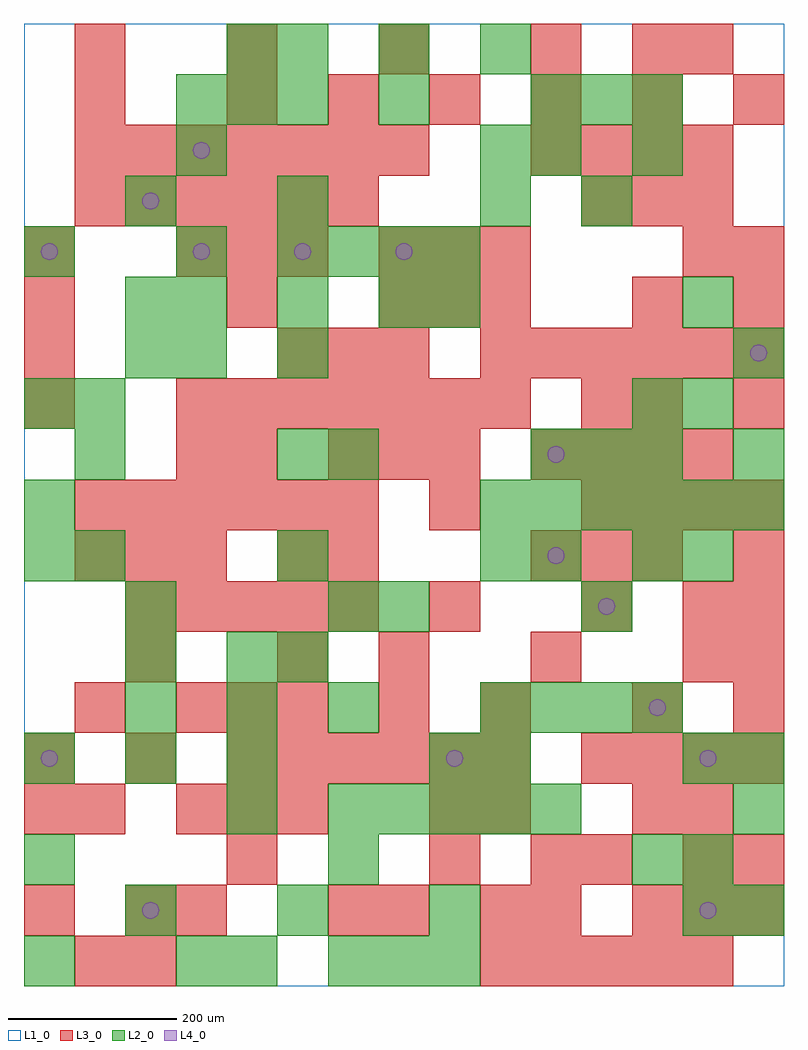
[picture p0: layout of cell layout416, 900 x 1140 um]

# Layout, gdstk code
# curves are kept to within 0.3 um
import gdstk
lib = gdstk.Library(unit=1e-6, precision=1e-09)
def R(c, l, rs):  # rectangles x0, y0, x1, y1
    for r in rs: c.add(gdstk.rectangle(r[:2], r[2:], *l))
def A(c, l, x, y, w, h, nx, ny, dx, dy):  # array of equal rectangles
    R(c, l, [(x+i*dx, y+j*dy, x+i*dx+w, y+j*dy+h) for i in range(nx) for j in range(ny)])
def P(c, l, *ps):  # polygons
    for p in ps: c.add(gdstk.Polygon(p, *l))
L1_0 = (1, 0)
L2_0 = (2, 0)
L3_0 = (3, 0)
L4_0 = (4, 0)

layout416 = lib.new_cell('layout416')
R(layout416, L1_0, [(0,0,900,1140)])
A(layout416, L2_0, 240, 0, 60, 60, 1, 3, 0, 180)
A(layout416, L2_0, 360, 0, 60, 60, 3, 1, 60, 0)
A(layout416, L2_0, 120, 60, 60, 60, 3, 1, 180, 0)
A(layout416, L2_0, 0, 120, 60, 60, 3, 1, 360, 0)
A(layout416, L2_0, 360, 180, 60, 60, 5, 1, 60, 0)
A(layout416, L2_0, 0, 240, 60, 60, 3, 1, 120, 0)
A(layout416, L2_0, 120, 300, 60, 60, 3, 1, 120, 0)
A(layout416, L2_0, 540, 300, 60, 60, 4, 1, 60, 0)
A(layout416, L2_0, 60, 480, 60, 60, 3, 1, 240, 0)
A(layout416, L2_0, 540, 540, 60, 60, 6, 1, 60, 0)
A(layout416, L2_0, 600, 600, 60, 60, 3, 2, 60, 420)
A(layout416, L2_0, 180, 720, 60, 60, 1, 3, 0, 120)
A(layout416, L2_0, 180, 780, 60, 60, 3, 1, 120, 0)
A(layout416, L2_0, 300, 840, 60, 60, 4, 1, 60, 0)
A(layout416, L2_0, 180, 1020, 60, 60, 3, 1, 60, 0)
A(layout416, L2_0, 300, 1080, 60, 60, 3, 1, 120, 0)
R(layout416, L2_0, [(0,0,60,60), (180,0,240,60), (780,60,840,120), (840,60,900,120), (780,120,840,180), (840,180,900,240), (480,240,540,300), (540,240,600,300), (780,240,840,300), (840,240,900,300), (120,360,180,420), (300,360,360,420), (120,420,180,480), (360,420,420,480), (420,420,480,480), (660,420,720,480), (0,480,60,540), (600,480,660,540), (720,480,780,540), (780,480,840,540), (0,540,60,600), (60,600,120,660), (300,600,360,660), (360,600,420,660), (840,600,900,660), (0,660,60,720), (60,660,120,720), (720,660,780,720), (780,660,840,720), (120,720,180,780), (300,720,360,780), (840,720,900,780), (120,780,180,840), (480,780,540,840), (780,780,840,840), (0,840,60,900), (120,900,180,960), (300,900,360,960), (540,900,600,960), (660,900,720,960), (540,960,600,1020), (600,960,660,1020), (720,960,780,1020), (420,1020,480,1080), (240,1080,300,1140)])
A(layout416, L3_0, 540, 0, 60, 60, 5, 1, 60, 0)
A(layout416, L3_0, 540, 60, 60, 60, 1, 3, 0, 120)
A(layout416, L3_0, 720, 60, 60, 60, 3, 1, 60, 0)
A(layout416, L3_0, 180, 180, 60, 60, 3, 2, 60, 120)
A(layout416, L3_0, 0, 240, 60, 60, 3, 1, 120, 0)
A(layout416, L3_0, 300, 240, 60, 60, 5, 1, 60, 0)
A(layout416, L3_0, 660, 240, 60, 60, 4, 2, 60, 300)
A(layout416, L3_0, 840, 300, 60, 60, 1, 4, 0, 60)
A(layout416, L3_0, 420, 360, 60, 60, 3, 1, 180, 0)
A(layout416, L3_0, 120, 420, 60, 60, 5, 1, 60, 0)
A(layout416, L3_0, 60, 480, 60, 60, 3, 1, 60, 0)
A(layout416, L3_0, 600, 480, 60, 60, 3, 1, 60, 0)
A(layout416, L3_0, 60, 540, 60, 60, 6, 2, 60, 360)
A(layout416, L3_0, 360, 600, 60, 60, 3, 1, 60, 0)
A(layout416, L3_0, 600, 600, 60, 60, 4, 2, 60, 360)
A(layout416, L3_0, 0, 660, 60, 60, 1, 4, 0, 60)
A(layout416, L3_0, 180, 660, 60, 60, 7, 1, 60, 0)
A(layout416, L3_0, 300, 720, 60, 60, 3, 1, 60, 0)
A(layout416, L3_0, 540, 720, 60, 60, 6, 1, 60, 0)
A(layout416, L3_0, 420, 780, 60, 60, 3, 2, 60, 60)
A(layout416, L3_0, 180, 840, 60, 60, 3, 1, 60, 0)
A(layout416, L3_0, 660, 900, 60, 60, 3, 1, 60, 0)
A(layout416, L3_0, 60, 960, 60, 60, 7, 1, 60, 0)
A(layout416, L3_0, 240, 1020, 60, 60, 6, 1, 120, 0)
A(layout416, L3_0, 60, 1080, 60, 60, 4, 1, 180, 0)
R(layout416, L3_0, [(60,0,120,60), (120,0,180,60), (0,60,60,120), (120,60,180,120), (180,60,240,120), (360,60,420,120), (420,60,480,120), (600,60,660,120), (240,120,300,180), (480,120,540,180), (600,120,660,180), (660,120,720,180), (780,120,840,180), (840,120,900,180), (0,180,60,240), (60,180,120,240), (480,180,540,240), (720,180,780,240), (780,180,840,240), (60,300,120,360), (420,300,480,360), (720,300,780,360), (120,360,180,420), (300,360,360,420), (480,420,540,480), (660,420,720,480), (780,420,840,480), (300,480,360,540), (360,480,420,540), (480,540,540,600), (180,600,240,660), (240,600,300,660), (660,660,720,720), (720,660,780,720), (840,660,900,720), (240,780,300,840), (720,780,780,840), (840,780,900,840), (780,840,840,900), (840,840,900,900), (60,1020,120,1080), (720,1080,780,1140), (780,1080,840,1140)])
P(layout416, L4_0, [(40,270),(39.239,273.827),(37.071,277.071),(33.827,279.239),(30,280),(26.173,279.239),(22.929,277.071),(20.761,273.827),(20,270),(20.761,266.173),(22.929,262.929),(26.173,260.761),(30,260),(33.827,260.761),(37.071,262.929),(39.239,266.173)],
  [(40,870),(39.239,873.827),(37.071,877.071),(33.827,879.239),(30,880),(26.173,879.239),(22.929,877.071),(20.761,873.827),(20,870),(20.761,866.173),(22.929,862.929),(26.173,860.761),(30,860),(33.827,860.761),(37.071,862.929),(39.239,866.173)],
  [(160,90),(159.239,93.827),(157.071,97.071),(153.827,99.239),(150,100),(146.173,99.239),(142.929,97.071),(140.761,93.827),(140,90),(140.761,86.173),(142.929,82.929),(146.173,80.761),(150,80),(153.827,80.761),(157.071,82.929),(159.239,86.173)],
  [(160,930),(159.239,933.827),(157.071,937.071),(153.827,939.239),(150,940),(146.173,939.239),(142.929,937.071),(140.761,933.827),(140,930),(140.761,926.173),(142.929,922.929),(146.173,920.761),(150,920),(153.827,920.761),(157.071,922.929),(159.239,926.173)],
  [(220,870),(219.239,873.827),(217.071,877.071),(213.827,879.239),(210,880),(206.173,879.239),(202.929,877.071),(200.761,873.827),(200,870),(200.761,866.173),(202.929,862.929),(206.173,860.761),(210,860),(213.827,860.761),(217.071,862.929),(219.239,866.173)],
  [(220,990),(219.239,993.827),(217.071,997.071),(213.827,999.239),(210,1000),(206.173,999.239),(202.929,997.071),(200.761,993.827),(200,990),(200.761,986.173),(202.929,982.929),(206.173,980.761),(210,980),(213.827,980.761),(217.071,982.929),(219.239,986.173)],
  [(340,870),(339.239,873.827),(337.071,877.071),(333.827,879.239),(330,880),(326.173,879.239),(322.929,877.071),(320.761,873.827),(320,870),(320.761,866.173),(322.929,862.929),(326.173,860.761),(330,860),(333.827,860.761),(337.071,862.929),(339.239,866.173)],
  [(460,870),(459.239,873.827),(457.071,877.071),(453.827,879.239),(450,880),(446.173,879.239),(442.929,877.071),(440.761,873.827),(440,870),(440.761,866.173),(442.929,862.929),(446.173,860.761),(450,860),(453.827,860.761),(457.071,862.929),(459.239,866.173)],
  [(520,270),(519.239,273.827),(517.071,277.071),(513.827,279.239),(510,280),(506.173,279.239),(502.929,277.071),(500.761,273.827),(500,270),(500.761,266.173),(502.929,262.929),(506.173,260.761),(510,260),(513.827,260.761),(517.071,262.929),(519.239,266.173)],
  [(640,510),(639.239,513.827),(637.071,517.071),(633.827,519.239),(630,520),(626.173,519.239),(622.929,517.071),(620.761,513.827),(620,510),(620.761,506.173),(622.929,502.929),(626.173,500.761),(630,500),(633.827,500.761),(637.071,502.929),(639.239,506.173)],
  [(640,630),(639.239,633.827),(637.071,637.071),(633.827,639.239),(630,640),(626.173,639.239),(622.929,637.071),(620.761,633.827),(620,630),(620.761,626.173),(622.929,622.929),(626.173,620.761),(630,620),(633.827,620.761),(637.071,622.929),(639.239,626.173)],
  [(700,450),(699.239,453.827),(697.071,457.071),(693.827,459.239),(690,460),(686.173,459.239),(682.929,457.071),(680.761,453.827),(680,450),(680.761,446.173),(682.929,442.929),(686.173,440.761),(690,440),(693.827,440.761),(697.071,442.929),(699.239,446.173)],
  [(760,330),(759.239,333.827),(757.071,337.071),(753.827,339.239),(750,340),(746.173,339.239),(742.929,337.071),(740.761,333.827),(740,330),(740.761,326.173),(742.929,322.929),(746.173,320.761),(750,320),(753.827,320.761),(757.071,322.929),(759.239,326.173)],
  [(820,90),(819.239,93.827),(817.071,97.071),(813.827,99.239),(810,100),(806.173,99.239),(802.929,97.071),(800.761,93.827),(800,90),(800.761,86.173),(802.929,82.929),(806.173,80.761),(810,80),(813.827,80.761),(817.071,82.929),(819.239,86.173)],
  [(820,270),(819.239,273.827),(817.071,277.071),(813.827,279.239),(810,280),(806.173,279.239),(802.929,277.071),(800.761,273.827),(800,270),(800.761,266.173),(802.929,262.929),(806.173,260.761),(810,260),(813.827,260.761),(817.071,262.929),(819.239,266.173)],
  [(880,750),(879.239,753.827),(877.071,757.071),(873.827,759.239),(870,760),(866.173,759.239),(862.929,757.071),(860.761,753.827),(860,750),(860.761,746.173),(862.929,742.929),(866.173,740.761),(870,740),(873.827,740.761),(877.071,742.929),(879.239,746.173)])

lib.write_gds('layout416.gds')
